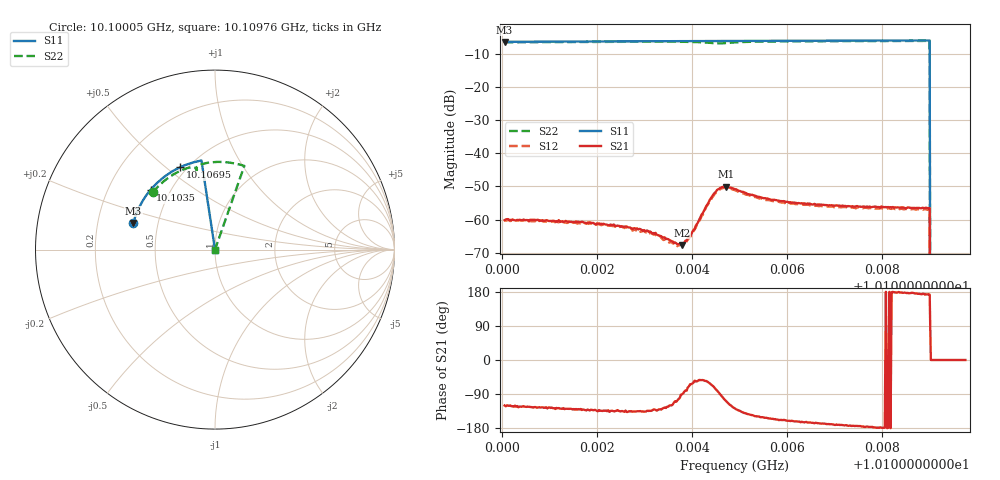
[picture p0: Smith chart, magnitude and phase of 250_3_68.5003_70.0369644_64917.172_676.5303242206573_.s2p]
#  HZ  S  RI  R  50.00
! Rohde & Schwarz Vector Network Analyzer
! Rohde-Schwarz,ZNB20-2Port,1311601062101988,3.16
! Created: UTC 3/20/2024, 4:59:49 PM
! freq[Hz]  re:S11  im:S11  re:S21  im:S21  re:S12  im:S12  re:S22  im:S22
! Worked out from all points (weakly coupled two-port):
!   401 points, 10.10005 GHz to 10.10976 GHz, reference 50 ohm
!   highest |S21| = -50.07 dB at 10.10471 GHz (marker M1); lowest = -67.7 dB at 10.10379 GHz (marker M2)
!   lowest |S11| = -6.4 dB at 10.10005 GHz (marker M3), VSWR 2.84, Z = 18 + j6.96 ohm
!   |S11| at or under -10 dB: 10.10901 GHz to end of sweep
!   |S22| runs from - to -6.1 dB; largest |S21 - S12| = 0.00032
!   S11 on the Smith chart (normalised r, x): 10.10005 GHz: 0.36, +0.14; 10.1035 GHz: 0.39, +0.34; 10.10695 GHz: 0.46, +0.56; 10.10976 GHz: 1.00, +0.00
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1.0100055e10  -0.4549 0.1488  -0.000493 -0.00085  -0.000421 -0.000913  -0.3476 0.3183
1.0101681e10  -0.4195 0.2414  -0.000616 -0.000686  -0.000536 -0.000714  -0.2717 0.3912
1.0102676e10  -0.3889 0.2934  -0.00054 -0.000538  -0.000517 -0.000558  -0.2172 0.4268
1.0103088e10  -0.3742 0.3139  -0.00046 -0.000467  -0.000383 -0.000476  -0.1928 0.4394
1.0103307e10  -0.3662 0.3243  -0.000374 -0.000439  -0.000335 -0.000456  -0.1791 0.4455
1.0103501e10  -0.3585 0.3333  -0.000279 -0.000424  -0.00022 -0.000418  -0.1664 0.4502
1.0103695e10  -0.3509 0.3422  -0.00012 -0.000409  -6.24e-05 -0.000394  -0.1532 0.4544
1.0103792e10  -0.347 0.3467  -3.3e-06 -0.000414  3.39e-06 -0.000428  -0.1462 0.456
1.0103889e10  -0.3431 0.351  7.65e-05 -0.000475  0.000126 -0.000451  -0.139 0.4576
1.0103987e10  -0.3389 0.3554  0.000267 -0.000541  0.000301 -0.000485  -0.1317 0.4585
1.0104326e10  -0.3242 0.3698  0.000921 -0.00142  0.00097 -0.00134  -0.1056 0.4535
1.0104472e10  -0.3179 0.3758  0.00075 -0.00239  0.000901 -0.00221  -0.1005 0.4458
1.0104593e10  -0.3125 0.3806  -4.8e-06 -0.00301  0.000228 -0.00285  -0.1027 0.4423
1.0104715e10  -0.3072 0.3855  -0.000961 -0.00299  -0.000675 -0.00295  -0.106 0.4461
1.0104909e10  -0.2981 0.3931  -0.00177 -0.00227  -0.00152 -0.00232  -0.1015 0.4584
1.010554e10  -0.2677 0.4165  -0.00187 -0.000973  -0.00166 -0.0011  -0.0599 0.4796
1.0106535e10  -0.2165 0.4479  -0.00164 -0.000416  -0.00154 -0.00055  0.00642 0.4883
1.0106948e10  -0.194 0.4589  -0.00163 -0.000284  -0.0015 -0.000446  0.0334 0.4886
1.0108161e10  -0.1254 0.4847  -0.00153 9.04e-06  -0.00148 -0.000143  0.1111 0.48
1.0108962e10  -0.078 0.4957  -0.00149 0.000179  -0.00141 3.34e-05  0.1606 0.4674
1.0109083e10  0 0  0 0  0 0  0 0
1.0109763e10  0 0  0 0  0 0  0 0
